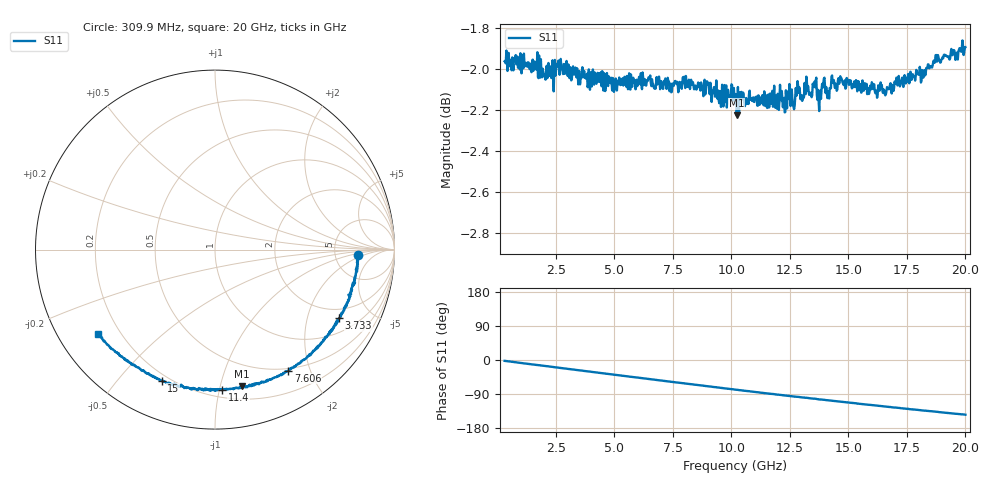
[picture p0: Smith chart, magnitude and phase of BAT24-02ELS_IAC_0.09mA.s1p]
! Infineon Technologies  Discrete & RF Semiconductors
! BAT24-02ELS
! IAC = 0.09 mA
! One-Port S-Parameters
# Hz  S  MA  R  50
!f  S11
!Hz  Mag  Ang
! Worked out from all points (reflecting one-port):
!   789 points, 309.9 MHz to 20 GHz, reference 50 ohm
!   lowest |S11| = -2.2 dB at 10.23 GHz (marker M1), VSWR 7.84, Z = 15.4 - j58.4 ohm
!   phase of S11 starts at -2 deg and turns -142 deg over the sweep
!   S11 on the Smith chart (normalised r, x): 309.9 MHz: 8.63, -1.47; 3.733 GHz: 1.56, -3.17; 7.606 GHz: 0.47, -1.68; 11.4 GHz: 0.25, -1.02; 15 GHz: 0.17, -0.66; 20 GHz: 0.12, -0.32
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3.0985e8  0.7977 -2.2
7.846125e8  0.8005 -5.9
1.634188e9  0.7962 -12.7
2.783612e9  0.7938 -21.6
3.733138e9  0.7905 -28.9
4.432788e9  0.7929 -34.4
5.232388e9  0.7886 -40.6
6.456775e9  0.7905 -49.9
7.6062e9  0.789 -58.7
7.70615e9  0.7877 -59.6
8.930538e9  0.7886 -68.8
1.015492e10  0.7792 -78.2
1.022989e10  0.7739 -78.8
1.14043e10  0.7844 -87.1
1.262869e10  0.7785 -96.1
1.282859e10  0.7889 -97.1
1.302849e10  0.7802 -98.9
1.355322e10  0.7887 -102.2
1.375312e10  0.7758 -104.0
1.392804e10  0.7881 -104.8
1.410295e10  0.7814 -106.3
1.432784e10  0.7883 -107.6
1.50025e10  0.7894 -112.2
1.507746e10  0.7893 -112.6
1.635182e10  0.7867 -121.2
1.755122e10  0.792 -128.9
1.892554e10  0.7971 -137.8
2e10  0.804 -144.3
